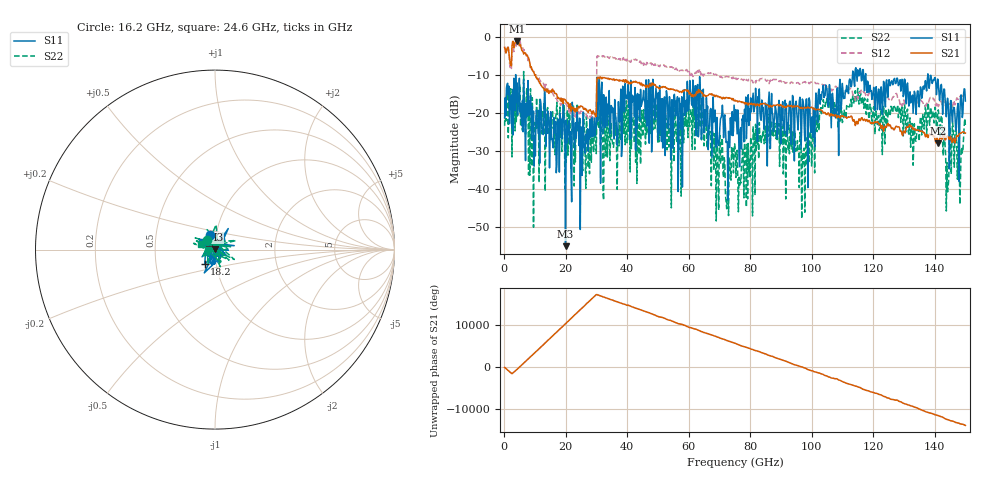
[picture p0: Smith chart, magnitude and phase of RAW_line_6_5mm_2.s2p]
!  2-Port S-parameters saved by WinCal
! VAR MeasName=S-Parameters (CALIBRATED_DATA) read from VNA (MS4647B)
! VAR MeasDate=27-Apr-22 15:22:54
! VAR NAME=RAW_line_6.5mm_2
! VAR FILENAME=RAW_line_6.5mm_2.S2P
! VAR DATE=27-Apr-22 15:22:54
! VAR PHYS_PORTS=1,2
! VAR ObjTypeName=DATASET
! VAR IndexType=Frequency
! VAR ChuckHeaterState=Unknown
! VAR ChuckTemp=NaN
! VAR ChuckTempUnits=Unknown
# Hz S RI R 50
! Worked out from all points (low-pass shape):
!   750 points, 200 MHz to 150 GHz, reference 50 ohm
!   highest |S21| = -1.05 dB at 4.2 GHz (marker M1); lowest = -28.0 dB at 141.2 GHz (marker M2)
!   |S21| within 3 dB of the highest: 656.5 MHz to 1.59 GHz (933.4 MHz wide, 83.1 % of centre); 2.538 GHz to 6.239 GHz (3.702 GHz wide, 84.3 % of centre)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
!   lowest |S11| = -55.0 dB at 20 GHz (marker M3), VSWR 1.00, Z = 49.9 + j0.118 ohm
!   |S11| at or under -10 dB: 3.803 GHz to 113.3 GHz (109.5 GHz wide, 187 % of centre); 117.6 GHz to 137.8 GHz (20.15 GHz wide, 15.8 % of centre); 137.8 GHz to end of sweep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
!   |S22| runs from -50.0 to -9.1 dB; largest |S21 - S12| = 1.7
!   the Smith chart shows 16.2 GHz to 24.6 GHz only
!   S11 on the Smith chart (normalised r, x): 16.2 GHz: 0.94, +0.16; 18.2 GHz: 0.88, -0.14; 24.6 GHz: 0.86, +0.07
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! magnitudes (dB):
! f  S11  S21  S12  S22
! 200 MHz  -21.3  -2.7  -2.6  -23.4
! 4.2 GHz  -12.1  -1.0  -1.7  -12.7
! 16.2 GHz  -21.2  -14.2  -15.4  -22.8
! 18.2 GHz  -20.0  -16.1  -17.3  -18.4
! 20 GHz  -55.0  -16.6  -17.6  -26.8
! 24.6 GHz  -21.4  -18.6  -20.2  -21.4
! 25.2 GHz  -23.7  -18.2  -19.9  -28.2
! 29.4 GHz  -21.3  -20.4  -22.0  -22.1
! 30.8 GHz  -14.4  -10.8  -5.1  -24.1
! 50.2 GHz  -14.6  -13.4  -7.7  -19.0
! 62.8 GHz  -12.7  -14.5  -8.6  -26.1
! 70.6 GHz  -21.2  -16.0  -10.5  -31.6
! 72.4 GHz  -27.5  -15.9  -10.4  -45.2
! 75.2 GHz  -22.1  -16.7  -10.9  -29.9
! 87.6 GHz  -24.9  -18.0  -11.2  -26.0
! 97.4 GHz  -17.9  -18.8  -11.9  -29.7
! 100.2 GHz  -21.0  -18.6  -11.8  -28.9
! 105.2 GHz  -17.5  -20.1  -13.3  -17.8
! 125.2 GHz  -11.2  -23.4  -16.5  -20.2
! 141.2 GHz  -12.3  -28.0  -18.3  -19.2
! 144 GHz  -17.8  -26.2  -16.8  -33.0
! 150 GHz  -16.9  -25.3  -16.1  -23.3
